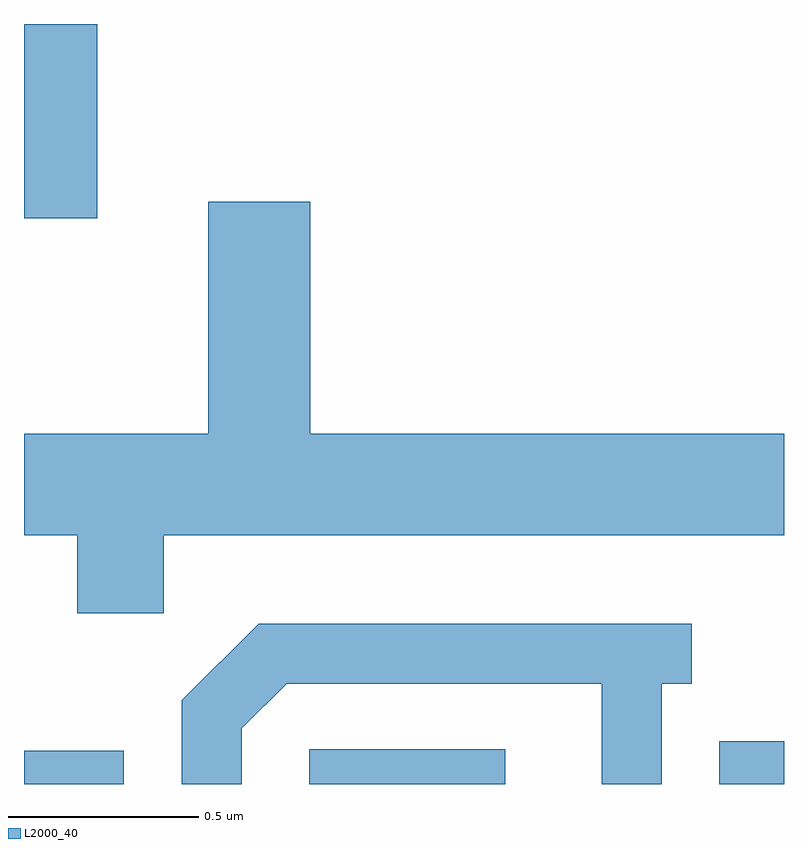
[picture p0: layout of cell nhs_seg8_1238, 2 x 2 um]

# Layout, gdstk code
import gdstk
lib = gdstk.Library(unit=1e-6, precision=1e-09)
def R(c, l, rs):  # rectangles x0, y0, x1, y1
    for r in rs: c.add(gdstk.rectangle(r[:2], r[2:], *l))
def P(c, l, *ps):  # polygons
    for p in ps: c.add(gdstk.Polygon(p, *l))
L2000_40 = (2000, 40)

nhs_seg8_1238 = lib.new_cell('nhs_seg8_1238')
R(nhs_seg8_1238, L2000_40, [(194.611,1811.342,194.874,1811.429), (195.361,1811.342,195.878,1811.434), (196.441,1811.342,196.611,1811.454), (194.611,1812.831,194.804,1813.342)])
P(nhs_seg8_1238, L2000_40, [(194.979,1811.996),(196.611,1811.996),(196.611,1812.264),(195.364,1812.264),(195.364,1812.874),(195.096,1812.874),(195.096,1812.264),(194.611,1812.264),(194.611,1811.996),(194.751,1811.996),(194.751,1811.791),(194.979,1811.791)],
  [(195.184,1811.489),(195.302,1811.606),(196.131,1811.606),(196.131,1811.342),(196.289,1811.342),(196.289,1811.606),(196.368,1811.606),(196.368,1811.764),(195.229,1811.764),(195.026,1811.562),(195.026,1811.342),(195.184,1811.342)])

lib.write_gds('nhs_seg8_1238.gds')
